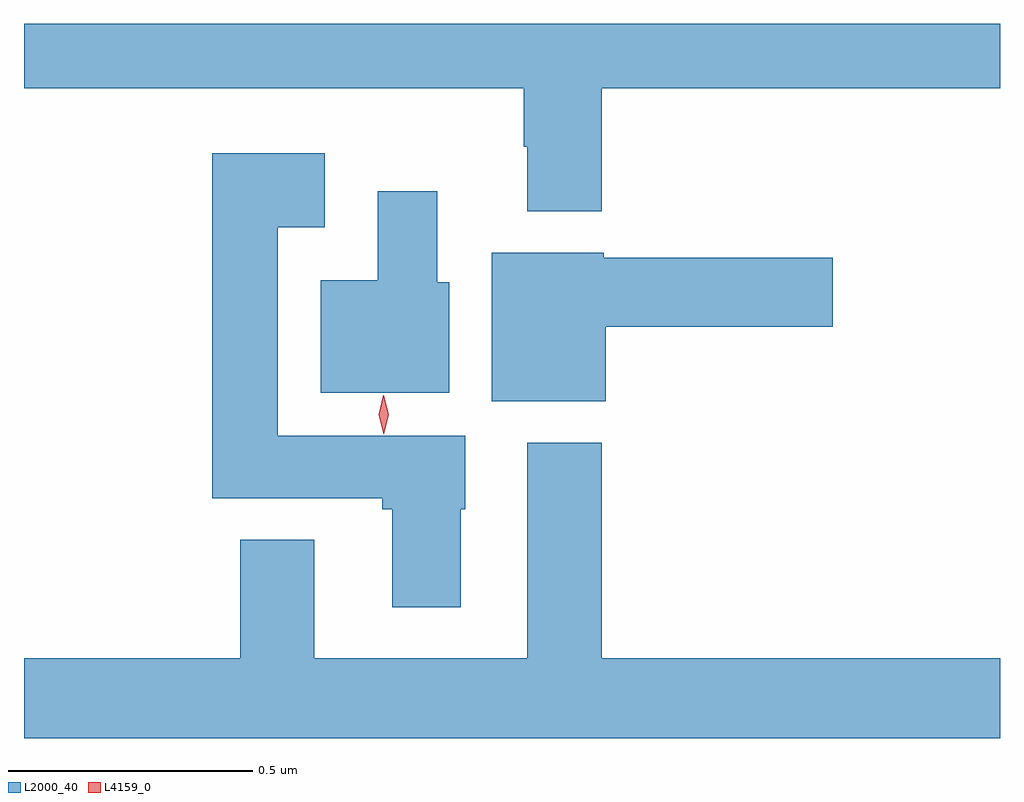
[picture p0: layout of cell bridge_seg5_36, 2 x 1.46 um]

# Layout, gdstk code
import gdstk
lib = gdstk.Library(unit=1e-6, precision=1e-09)
def P(c, l, *ps):  # polygons
    for p in ps: c.add(gdstk.Polygon(p, *l))
L2000_40 = (2000, 40)
L4159_0 = (4159, 0)

bridge_seg5_36 = lib.new_cell('bridge_seg5_36')
P(bridge_seg5_36, L2000_40, [(757.778,915.368),(758.594,915.368),(758.594,915.5),(756.594,915.5),(756.594,915.368),(757.618,915.368),(757.618,915.248),(757.625,915.248),(757.625,915.116),(757.778,915.116)],
  [(757.489,914.505),(757.498,914.505),(757.498,914.656),(757.114,914.656),(757.114,915.083),(757.21,915.083),(757.21,915.235),(756.98,915.235),(756.98,914.528),(757.328,914.528),(757.328,914.505),(757.349,914.505),(757.349,914.304),(757.489,914.304)],
  [(757.465,914.97),(757.441,914.97),(757.441,915.157),(757.319,915.157),(757.319,914.974),(757.202,914.974),(757.202,914.744),(757.465,914.744)],
  [(757.786,914.879),(758.251,914.879),(758.251,915.021),(757.782,915.021),(757.782,915.031),(757.553,915.031),(757.553,914.726),(757.786,914.726)],
  [(758.594,914.2),(757.778,914.2),(757.778,914.641),(757.625,914.641),(757.625,914.2),(757.189,914.2),(757.189,914.443),(757.037,914.443),(757.037,914.2),(756.594,914.2),(756.594,914.036),(758.594,914.036)])
P(bridge_seg5_36, L4159_0, [(757.331,914.659),(757.331,914.659),(757.321,914.699),(757.33,914.739),(757.33,914.739),(757.331,914.739),(757.341,914.699),(757.331,914.659)])

lib.write_gds('bridge_seg5_36.gds')
